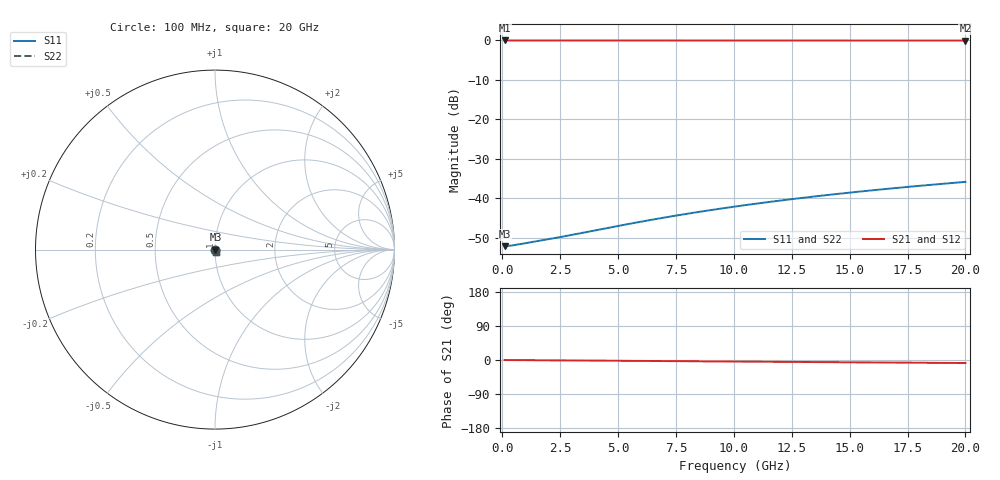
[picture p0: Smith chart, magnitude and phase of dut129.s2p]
! Touchstone file exported from HFSS 2026.1.0
!  File:  C:/ffzhzh/LocalFiles/Ansys_Project_Files/temp_train_TSV_129_1782990105_42984.aedt
!  Generated:  07:04:06 PM Jul  2, 2026
!  Design:  TSV
!  Project:  temp_train_TSV_129_1782990105_42984
! Variables:
!  h_bsmrdl = 2um
!  h_ox = 20um
!  h_rdl = 5um
!  h_sub = 87.81um
!  h_tmrdl = 5um
!  h_tsv = 87.81um
!  h_via = 3um
!  l_bsmrdl = 300um
!  l_sub = 404.02um
!  l_tmrdl = 200um
!  m_sub = 200um
!  pitch = 7.25um
!  r_tsv = 2.01um
!  s_tmrdl = 10um
!  w_bsmrdl = 18um
!  w_sub = 500um
!  w_tmrdl = 12um
!  x_tsv_center1 = 206um
!  x_tsv_center2 = 524um
!  x_tsv_center3 = 736um
!  x_tsv_center4 = 1054um
!  x_tsv_center5 = 1266um
!  x_tsv_center6 = 1584um
# GHz S MA R 50.000000
! Terminal data exported
! Port[1] = TSV1_1_T1
! Port[2] = TSV1_1_T2
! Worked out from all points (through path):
!   200 points, 100 MHz to 20 GHz, reference 50 ohm
!   highest |S21| = -0.02 dB at 100 MHz (marker M1); lowest = -0.1 dB at 20 GHz (marker M2)
!   group delay of S21, straight-line fit = 1.11 ps
!   lowest |S11| = -52.1 dB at 100 MHz (marker M3), VSWR 1.00, Z = 50.2 - j0.00303 ohm
!   |S11| at or under -10 dB: start of sweep to end of sweep
!   |S22| runs from -52.1 to -35.8 dB; largest |S21 - S12| = 2.3e-15
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0.1  0.002481 -0.7  0.9975 -0.0  0.9975 -0.0  0.002481 -0.7
! Gamma 0 0 0 0
! Port Impedance 50 0 50 0
0.2  0.002491 -1.4  0.9975 -0.1  0.9975 -0.1  0.002491 -1.4
0.4  0.002529 -3.1  0.9975 -0.2  0.9975 -0.2  0.002529 -3.1
0.7  0.002612 -6.2  0.9974 -0.3  0.9974 -0.3  0.002612 -6.2
2.2  0.003115 -24.7  0.9971 -0.9  0.9971 -0.9  0.003115 -24.7
2.8  0.003357 -31.0  0.9971 -1.1  0.9971 -1.1  0.003357 -31.0
3.5  0.003675 -37.2  0.997 -1.4  0.997 -1.4  0.003675 -37.2
5.4  0.004707 -49.4  0.9968 -2.2  0.9968 -2.2  0.004707 -49.4
6.1  0.005135 -52.6  0.9967 -2.5  0.9967 -2.5  0.005135 -52.6
6.8  0.005584 -55.3  0.9966 -2.8  0.9966 -2.8  0.005584 -55.3
7.6  0.006118 -58.0  0.9965 -3.1  0.9965 -3.1  0.006118 -58.0
8.4  0.006673 -60.3  0.9963 -3.4  0.9963 -3.4  0.006674 -60.3
9.2  0.007247 -62.2  0.9962 -3.7  0.9962 -3.7  0.007247 -62.2
10.1  0.007912 -64.2  0.996 -4.1  0.996 -4.1  0.007912 -64.2
10.9  0.008519 -65.7  0.9959 -4.4  0.9959 -4.4  0.008519 -65.7
11.7  0.00914 -67.0  0.9957 -4.7  0.9957 -4.7  0.00914 -67.0
12.5  0.009773 -68.3  0.9956 -5.0  0.9956 -5.0  0.009773 -68.3
13.4  0.0105 -69.6  0.9954 -5.4  0.9954 -5.4  0.0105 -69.6
15  0.01182 -71.6  0.995 -6.0  0.995 -6.0  0.01182 -71.6
16.7  0.01327 -73.5  0.9947 -6.7  0.9947 -6.7  0.01327 -73.5
18.3  0.01466 -75.2  0.9944 -7.3  0.9944 -7.3  0.01466 -75.2
20  0.01616 -76.8  0.994 -8.0  0.994 -8.0  0.01616 -76.8
